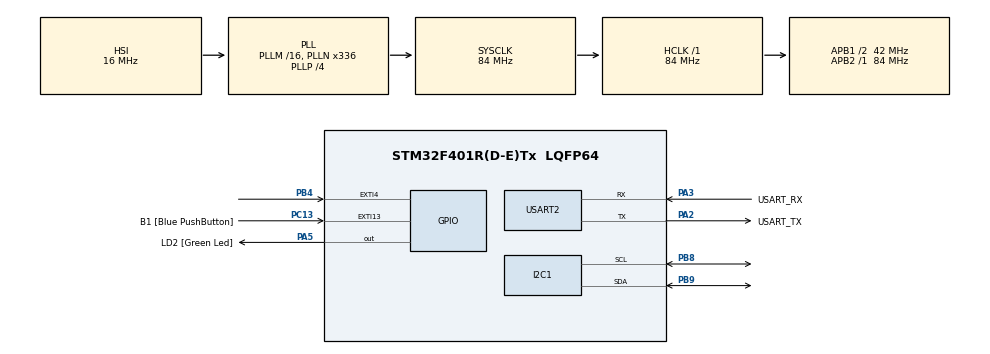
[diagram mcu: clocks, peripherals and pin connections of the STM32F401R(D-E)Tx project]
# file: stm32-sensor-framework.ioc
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Mcu.Family=STM32F4
Mcu.Name=STM32F401R(D-E)Tx
Mcu.Package=LQFP64
NVIC.EXTI15_10_IRQn=true\:0\:0\:false\:false\:true\:true\:true\:true
NVIC.EXTI4_IRQn=true\:0\:0\:false\:false\:true\:true\:true\:true
NVIC.PriorityGroup=NVIC_PRIORITYGROUP_4
PA13.GPIO_Label=TMS
PA13.Mode=Trace_Asynchronous_SW
PA13.Signal=SYS_JTMS-SWDIO
PA14.GPIO_Label=TCK
PA14.Mode=Trace_Asynchronous_SW
PA14.Signal=SYS_JTCK-SWCLK
PA2.GPIO_Label=USART_TX
PA2.GPIO_Mode=GPIO_MODE_AF_PP
PA2.GPIO_PuPd=GPIO_NOPULL
PA2.GPIO_Speed=GPIO_SPEED_FREQ_LOW
PA2.Mode=Asynchronous
PA2.Signal=USART2_TX
PA3.GPIO_Label=USART_RX
PA3.GPIO_Mode=GPIO_MODE_AF_PP
PA3.GPIO_PuPd=GPIO_NOPULL
PA3.GPIO_Speed=GPIO_SPEED_FREQ_LOW
PA3.Mode=Asynchronous
PA3.Signal=USART2_RX
PA5.GPIO_Label=LD2 [Green Led]
PA5.GPIO_Mode=GPIO_MODE_OUTPUT_PP
PA5.GPIO_PuPd=GPIO_NOPULL
PA5.GPIO_Speed=GPIO_SPEED_FREQ_LOW
PA5.Signal=GPIO_Output
PB3.GPIO_Label=SWO
PB3.Mode=Trace_Asynchronous_SW
PB3.Signal=SYS_JTDO-SWO
PB4.Signal=GPXTI4
PB8.Mode=I2C
PB8.Signal=I2C1_SCL
PB9.Mode=I2C
PB9.Signal=I2C1_SDA
PC13-ANTI_TAMP.GPIO_Label=B1 [Blue PushButton]
PC13-ANTI_TAMP.GPIO_ModeDefaultEXTI=GPIO_MODE_IT_FALLING
PC13-ANTI_TAMP.GPIO_PuPd=GPIO_NOPULL
PC13-ANTI_TAMP.Signal=GPXTI13
PC14-OSC32_IN.Mode=LSE-External-Oscillator
PC14-OSC32_IN.Signal=RCC_OSC32_IN
PC15-OSC32_OUT.Mode=LSE-External-Oscillator
PC15-OSC32_OUT.Signal=RCC_OSC32_OUT
PH0\ -\ OSC_IN.Mode=HSE-External-Clock-Source
PH0\ -\ OSC_IN.Signal=RCC_OSC_IN
PH1\ -\ OSC_OUT.Mode=HSE-External-Clock-Source
PH1\ -\ OSC_OUT.Signal=RCC_OSC_OUT
ProjectManager.HeapSize=0x200
ProjectManager.StackSize=0x400
ProjectManager.TargetToolchain=STM32CubeIDE
RCC.48MHZClocksFreq_Value=48000000
RCC.AHBFreq_Value=84000000
RCC.APB1CLKDivider=RCC_HCLK_DIV2
RCC.APB1Freq_Value=42000000
RCC.APB1TimFreq_Value=84000000
RCC.APB2Freq_Value=84000000
RCC.APB2TimFreq_Value=84000000
RCC.CortexFreq_Value=84000000
RCC.HCLKFreq_Value=84000000
RCC.HSE_VALUE=8000000
RCC.HSI_VALUE=16000000
RCC.PLLN=336
RCC.PLLP=RCC_PLLP_DIV4
RCC.PLLQ=7
RCC.SYSCLKFreq_VALUE=84000000
RCC.SYSCLKSource=RCC_SYSCLKSOURCE_PLLCLK
RCC.VCOOutputFreq_Value=336000000
USART2.VirtualMode=VM_ASYNC
board=NUCLEO-F401RE

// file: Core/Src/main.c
/* USER CODE BEGIN Header */
/**
 ******************************************************************************
 * @file           : main.c
 * @brief          : Main program body
 ******************************************************************************
 * @attention
 *
 * Copyright (c) 2026 STMicroelectronics.
 * All rights reserved.
 *
 * This software is licensed under terms that can be found in the LICENSE file
 * in the root directory of this software component.
 * If no LICENSE file comes with this software, it is provided AS-IS.
 *
 ******************************************************************************
 */
/* USER CODE END Header */
#include "main.h"

/* USER CODE BEGIN Includes */
#include <stdio.h>
#include "lsm6dsv16x.h"
#include "sensor_config.h"
#include "imu.h"
/* USER CODE END Includes */

I2C_HandleTypeDef hi2c1;
UART_HandleTypeDef huart2;
IMU_Data_t imu_data;

volatile uint8_t accel_data_ready = 0;
volatile uint8_t button_pressed = 0;
/* USER CODE BEGIN PV */
IMU_ODR_t current_odr = IMU_ODR_15HZ;

const IMU_ODR_t odr_options[] = {
    IMU_ODR_15HZ,
    IMU_ODR_30HZ,
    IMU_ODR_60HZ,
    IMU_ODR_120HZ
};

const char *odr_names[] = {
    "15 Hz", "30 Hz", "60 Hz", "120 Hz"
};

const uint16_t odr_values[] = {
    15, 30, 60, 120
};

uint32_t last_button_tick = 0;
/* USER CODE END PV */

void SystemClock_Config(void);
static void MX_GPIO_Init(void);
static void MX_USART2_UART_Init(void);
static void MX_I2C1_Init(void);
void ReadAndPrintAcceleration(void);

/* USER CODE BEGIN 0 */
int __io_putchar(int ch) {
	HAL_UART_Transmit(&huart2, (uint8_t*) &ch, 1, HAL_MAX_DELAY);
	return ch;
}
/* USER CODE END 0 */

int main(void)
{

  /* MCU Configuration--------------------------------------------------------*/

  /* Reset of all peripherals, Initializes the Flash interface and the Systick. */
  HAL_Init();

  /* Configure the system clock */
  SystemClock_Config();

  /* Initialize all configured peripherals */
  MX_GPIO_Init();
  MX_USART2_UART_Init();
  MX_I2C1_Init();
  /* USER CODE BEGIN 2 */
  if (IMU_Init() != HAL_OK)
      Error_Handler();

  if (IMU_SetODR(current_odr) != HAL_OK)
      Error_Handler();

  switch (SENSOR_MODE)
  {
      case SENSOR_MODE_POLLING:
          printf("Mode: Polling\r\n");
          break;

      case SENSOR_MODE_INTERRUPT:
    	  int16_t x, y, z;

		  if (LSM6DSV16X_ReadAcceleration(&x, &y, &z) != HAL_OK)
			  Error_Handler();

          if (LSM6DSV16X_EnableDataReadyInterrupt() == HAL_OK)
              printf("Mode: Interrupt\r\n");
          else
              Error_Handler();
          break;

      default:
          Error_Handler();
  }
  /* USER CODE END 2 */

  /* Infinite loop */
  /* USER CODE BEGIN WHILE */
	while (1) {
		  if (button_pressed)
		  {
		      button_pressed = 0;

		      if (HAL_GetTick() - last_button_tick >= 250)
		      {
		          last_button_tick = HAL_GetTick();

		          IMU_ODR_t next_odr = (current_odr + 1) % 4;

		          if (IMU_SetODR(next_odr) == HAL_OK)
		          {
		              current_odr = next_odr;
		              printf("IMU ODR changed to: %s\r\n",
		                     odr_names[current_odr]);
		          }
		          else
		          {
		              printf("Failed to change IMU ODR!\r\n");
		          }
		      }
		  }

		  switch (SENSOR_MODE)
		    {
		        case SENSOR_MODE_POLLING:
		        	IMU_ReadAndPrint();
		            HAL_Delay(1000 / odr_values[current_odr]);
		            break;

		        case SENSOR_MODE_INTERRUPT:
		            if (accel_data_ready)
		            {
		                accel_data_ready = 0;
		                IMU_ReadAndPrint();
		            }
		            break;

		        default:
		            break;
		    }
    /* USER CODE END WHILE */

	}
}

void SystemClock_Config(void)
{
  RCC_OscInitTypeDef RCC_OscInitStruct = {0};
  RCC_ClkInitTypeDef RCC_ClkInitStruct = {0};

  /** Configure the main internal regulator output voltage
  */
  __HAL_RCC_PWR_CLK_ENABLE();
  __HAL_PWR_VOLTAGESCALING_CONFIG(PWR_REGULATOR_VOLTAGE_SCALE2);

  /** Initializes the RCC Oscillators according to the specified parameters
  * in the RCC_OscInitTypeDef structure.
  */
  RCC_OscInitStruct.OscillatorType = RCC_OSCILLATORTYPE_HSI;
  RCC_OscInitStruct.HSIState = RCC_HSI_ON;
  RCC_OscInitStruct.HSICalibrationValue = RCC_HSICALIBRATION_DEFAULT;
  RCC_OscInitStruct.PLL.PLLState = RCC_PLL_ON;
  RCC_OscInitStruct.PLL.PLLSource = RCC_PLLSOURCE_HSI;
  RCC_OscInitStruct.PLL.PLLM = 16;
  RCC_OscInitStruct.PLL.PLLN = 336;
  RCC_OscInitStruct.PLL.PLLP = RCC_PLLP_DIV4;
  RCC_OscInitStruct.PLL.PLLQ = 7;
  if (HAL_RCC_OscConfig(&RCC_OscInitStruct) != HAL_OK)
  {
    Error_Handler();
  }

  /** Initializes the CPU, AHB and APB buses clocks
  */
  RCC_ClkInitStruct.ClockType = RCC_CLOCKTYPE_HCLK|RCC_CLOCKTYPE_SYSCLK
                              |RCC_CLOCKTYPE_PCLK1|RCC_CLOCKTYPE_PCLK2;
  RCC_ClkInitStruct.SYSCLKSource = RCC_SYSCLKSOURCE_PLLCLK;
  RCC_ClkInitStruct.AHBCLKDivider = RCC_SYSCLK_DIV1;
  RCC_ClkInitStruct.APB1CLKDivider = RCC_HCLK_DIV2;
  RCC_ClkInitStruct.APB2CLKDivider = RCC_HCLK_DIV1;

  if (HAL_RCC_ClockConfig(&RCC_ClkInitStruct, FLASH_LATENCY_2) != HAL_OK)
  {
    Error_Handler();
  }
}

static void MX_I2C1_Init(void)
{

  hi2c1.Instance = I2C1;
  hi2c1.Init.ClockSpeed = 100000;
  hi2c1.Init.DutyCycle = I2C_DUTYCYCLE_2;
  hi2c1.Init.OwnAddress1 = 0;
  hi2c1.Init.AddressingMode = I2C_ADDRESSINGMODE_7BIT;
  hi2c1.Init.DualAddressMode = I2C_DUALADDRESS_DISABLE;
  hi2c1.Init.OwnAddress2 = 0;
  hi2c1.Init.GeneralCallMode = I2C_GENERALCALL_DISABLE;
  hi2c1.Init.NoStretchMode = I2C_NOSTRETCH_DISABLE;
  if (HAL_I2C_Init(&hi2c1) != HAL_OK)
  {
    Error_Handler();
  }

}

static void MX_USART2_UART_Init(void)
{

  huart2.Instance = USART2;
  huart2.Init.BaudRate = 115200;
  huart2.Init.WordLength = UART_WORDLENGTH_8B;
  huart2.Init.StopBits = UART_STOPBITS_1;
  huart2.Init.Parity = UART_PARITY_NONE;
  huart2.Init.Mode = UART_MODE_TX_RX;
  huart2.Init.HwFlowCtl = UART_HWCONTROL_NONE;
  huart2.Init.OverSampling = UART_OVERSAMPLING_16;
  if (HAL_UART_Init(&huart2) != HAL_OK)
  {
    Error_Handler();
  }

}

static void MX_GPIO_Init(void)
{
  GPIO_InitTypeDef GPIO_InitStruct = {0};

  /* GPIO Ports Clock Enable */
  __HAL_RCC_GPIOC_CLK_ENABLE();
  __HAL_RCC_GPIOH_CLK_ENABLE();
  __HAL_RCC_GPIOA_CLK_ENABLE();
  __HAL_RCC_GPIOB_CLK_ENABLE();

  /*Configure GPIO pin Output Level */
  HAL_GPIO_WritePin(LD2_GPIO_Port, LD2_Pin, GPIO_PIN_RESET);

  /*Configure GPIO pin : B1_Pin */
  GPIO_InitStruct.Pin = B1_Pin;
  GPIO_InitStruct.Mode = GPIO_MODE_IT_FALLING;
  GPIO_InitStruct.Pull = GPIO_NOPULL;
  HAL_GPIO_Init(B1_GPIO_Port, &GPIO_InitStruct);

  /*Configure GPIO pin : LD2_Pin */
  GPIO_InitStruct.Pin = LD2_Pin;
  GPIO_InitStruct.Mode = GPIO_MODE_OUTPUT_PP;
  GPIO_InitStruct.Pull = GPIO_NOPULL;
  GPIO_InitStruct.Speed = GPIO_SPEED_FREQ_LOW;
  HAL_GPIO_Init(LD2_GPIO_Port, &GPIO_InitStruct);

  /*Configure GPIO pin : PB4 */
  GPIO_InitStruct.Pin = GPIO_PIN_4;
  GPIO_InitStruct.Mode = GPIO_MODE_IT_RISING;
  GPIO_InitStruct.Pull = GPIO_NOPULL;
  HAL_GPIO_Init(GPIOB, &GPIO_InitStruct);

  /*Configure GPIO pin : PC13 */
  GPIO_InitStruct.Pin = GPIO_PIN_13;
  GPIO_InitStruct.Mode = GPIO_MODE_IT_FALLING;
  GPIO_InitStruct.Pull = GPIO_NOPULL;
  HAL_GPIO_Init(GPIOC, &GPIO_InitStruct);

  /* EXTI interrupt init*/
  HAL_NVIC_SetPriority(EXTI4_IRQn, 0, 0);
  HAL_NVIC_EnableIRQ(EXTI4_IRQn);

  /* Blue button interrupt init*/
  HAL_NVIC_SetPriority(EXTI15_10_IRQn, 0, 0);
  HAL_NVIC_EnableIRQ(EXTI15_10_IRQn);
}

/* USER CODE BEGIN 4 */
void HAL_GPIO_EXTI_Callback(uint16_t GPIO_Pin)
{
    if (GPIO_Pin == GPIO_PIN_4)
    {
        accel_data_ready = 1;
    }
    else if (GPIO_Pin == GPIO_PIN_13)
	{
            button_pressed = 1;
	}
}
/* USER CODE END 4 */

void Error_Handler(void)
{
	__disable_irq();
	while (1) {
	}
}
